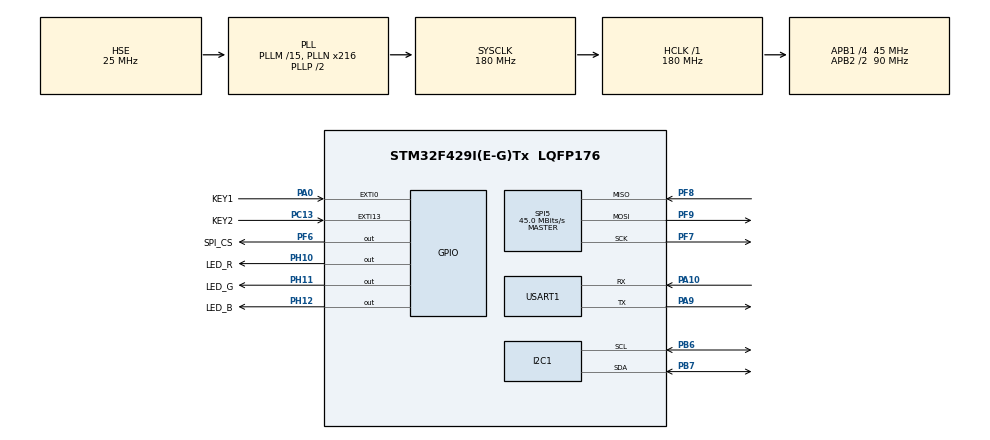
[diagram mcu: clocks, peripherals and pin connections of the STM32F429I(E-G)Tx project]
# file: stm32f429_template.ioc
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I2C1.I2C_Mode=I2C_Standard
I2C1.OwnAddress=5
Mcu.Family=STM32F4
Mcu.Name=STM32F429I(E-G)Tx
Mcu.Package=LQFP176
NVIC.EXTI0_IRQn=true\:9\:0\:true\:false\:true\:true\:true
NVIC.EXTI15_10_IRQn=true\:10\:0\:true\:false\:true\:true\:true
NVIC.PriorityGroup=NVIC_PRIORITYGROUP_4
PA0/WKUP.GPIO_Label=KEY1
PA0/WKUP.Signal=GPXTI0
PA10.Mode=Asynchronous
PA10.Signal=USART1_RX
PA13.Mode=Serial_Wire
PA13.Signal=SYS_JTMS-SWDIO
PA14.Mode=Serial_Wire
PA14.Signal=SYS_JTCK-SWCLK
PA9.Mode=Asynchronous
PA9.Signal=USART1_TX
PB6.Mode=I2C
PB6.Signal=I2C1_SCL
PB7.Mode=I2C
PB7.Signal=I2C1_SDA
PC13.GPIO_Label=KEY2
PC13.Signal=GPXTI13
PF6.GPIO_Label=SPI_CS
PF6.GPIO_Speed=GPIO_SPEED_FREQ_VERY_HIGH
PF6.PinState=GPIO_PIN_SET
PF6.Signal=GPIO_Output
PF7.Mode=Full_Duplex_Master
PF7.Signal=SPI5_SCK
PF8.Mode=Full_Duplex_Master
PF8.Signal=SPI5_MISO
PF9.Mode=Full_Duplex_Master
PF9.Signal=SPI5_MOSI
PH0/OSC_IN.Mode=HSE-External-Oscillator
PH0/OSC_IN.Signal=RCC_OSC_IN
PH1/OSC_OUT.Mode=HSE-External-Oscillator
PH1/OSC_OUT.Signal=RCC_OSC_OUT
PH10.GPIO_Label=LED_R
PH10.GPIO_Speed=GPIO_SPEED_FREQ_HIGH
PH10.PinState=GPIO_PIN_SET
PH10.Signal=GPIO_Output
PH11.GPIO_Label=LED_G
PH11.GPIO_Speed=GPIO_SPEED_FREQ_HIGH
PH11.PinState=GPIO_PIN_SET
PH11.Signal=GPIO_Output
PH12.GPIO_Label=LED_B
PH12.GPIO_Speed=GPIO_SPEED_FREQ_HIGH
PH12.PinState=GPIO_PIN_SET
PH12.Signal=GPIO_Output
ProjectManager.HeapSize=0x200
ProjectManager.StackSize=0x400
ProjectManager.TargetToolchain=MDK-ARM V5
RCC.48MHZClocksFreq_Value=90000000
RCC.AHBFreq_Value=180000000
RCC.APB1CLKDivider=RCC_HCLK_DIV4
RCC.APB1Freq_Value=45000000
RCC.APB1TimFreq_Value=90000000
RCC.APB2CLKDivider=RCC_HCLK_DIV2
RCC.APB2Freq_Value=90000000
RCC.APB2TimFreq_Value=180000000
RCC.CortexFreq_Value=180000000
RCC.EnbaleCSS=true
RCC.HCLKFreq_Value=180000000
RCC.HSE_VALUE=25000000
RCC.HSI_VALUE=16000000
RCC.LSE_VALUE=32768
RCC.PLLM=15
RCC.PLLN=216
RCC.PLLSourceVirtual=RCC_PLLSOURCE_HSE
RCC.SYSCLKFreq_VALUE=180000000
RCC.SYSCLKSource=RCC_SYSCLKSOURCE_PLLCLK
RCC.VCOOutputFreq_Value=360000000
SPI5.CLKPhase=SPI_PHASE_2EDGE
SPI5.CLKPolarity=SPI_POLARITY_HIGH
SPI5.CalculateBaudRate=45.0 MBits/s
SPI5.Direction=SPI_DIRECTION_2LINES
SPI5.Mode=SPI_MODE_MASTER
SPI5.VirtualType=VM_MASTER
USART1.VirtualMode=VM_ASYNC
board=custom

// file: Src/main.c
/* USER CODE BEGIN Header */
/**
  ******************************************************************************
  * @file           : main.c
  * @brief          : Main program body
  ******************************************************************************
  * @attention
  *
  * <h2><center>&copy; Copyright (c) 2020 STMicroelectronics.
  * All rights reserved.</center></h2>
  *
  * This software component is licensed by ST under BSD 3-Clause license,
  * the "License"; You may not use this file except in compliance with the
  * License. You may obtain a copy of the License at:
  *                        opensource.org/licenses/BSD-3-Clause
  *
  ******************************************************************************
  */
/* USER CODE END Header */

#include "main.h"
#include "i2c.h"
#include "spi.h"
#include "usart.h"
#include "gpio.h"

/* USER CODE BEGIN Includes */
#include "bsp_led.h"
#include "bsp_i2c_ee.h"
#include <string.h>
/* USER CODE END Includes */

void SystemClock_Config(void);

int main(void)
{
  /* USER CODE BEGIN 1 */
  char str[] = "abcdefghijklmnopqrstuvwxyz";
  uint32_t cnt = 0;
  /* USER CODE END 1 */

  /* MCU Configuration--------------------------------------------------------*/

  /* Reset of all peripherals, Initializes the Flash interface and the Systick. */
  HAL_Init();

  /* Configure the system clock */
  SystemClock_Config();

  /* Initialize all configured peripherals */
  MX_GPIO_Init();
  MX_USART1_UART_Init();
  MX_I2C1_Init();
  MX_SPI5_Init();
  /* USER CODE BEGIN 2 */
  DEBUG("test DEBUG");
  #if 0
  // memset(EE_WriteBuffer,0,EEPROM_MEMORY_SIZE);
  memset(EE_ReadBuffer,0,EEPROM_MEMORY_SIZE);
  for(cnt=0;cnt<256;cnt++)
  {
    EE_WriteBuffer[cnt] = cnt;
  }
  strcpy((char *)EE_WriteBuffer,str);
  if(I2C_EE_WriteBuffer(EE_WriteBuffer,45,strlen(str))==HAL_OK)
  // if(I2C_EE_WriteBuffer(EE_WriteBuffer,0,EEPROM_MEMORY_SIZE)==HAL_OK)
  {
    DEBUG("i2c write BYTE success.");
  }
  else
  {
    DEBUG("i2c write BYTE fail.");
  }

  if(I2C_EE_ReadData(EE_ReadBuffer,0,EEPROM_MEMORY_SIZE)==HAL_OK)
  {
    DEBUG("i2c read BYTE success.");
  }
  else
  {
    DEBUG("i2c read BYTE fail.");
  }
  for (int i = 0; i < EEPROM_MEMORY_SIZE; i++)
  {
    DEBUG("write:%d  read:%c",EE_WriteBuffer[i] ,EE_ReadBuffer[i]);
  }
  #endif
  /* USER CODE END 2 */

  /* Infinite loop */
  /* USER CODE BEGIN WHILE */
  while (1)
  {
    Led_Processing();
    /* USER CODE END WHILE */

  }
}

void SystemClock_Config(void)
{
  RCC_OscInitTypeDef RCC_OscInitStruct = {0};
  RCC_ClkInitTypeDef RCC_ClkInitStruct = {0};

  /** Configure the main internal regulator output voltage
  */
  __HAL_RCC_PWR_CLK_ENABLE();
  __HAL_PWR_VOLTAGESCALING_CONFIG(PWR_REGULATOR_VOLTAGE_SCALE1);
  /** Initializes the CPU, AHB and APB busses clocks
  */
  RCC_OscInitStruct.OscillatorType = RCC_OSCILLATORTYPE_HSE;
  RCC_OscInitStruct.HSEState = RCC_HSE_ON;
  RCC_OscInitStruct.PLL.PLLState = RCC_PLL_ON;
  RCC_OscInitStruct.PLL.PLLSource = RCC_PLLSOURCE_HSE;
  RCC_OscInitStruct.PLL.PLLM = 15;
  RCC_OscInitStruct.PLL.PLLN = 216;
  RCC_OscInitStruct.PLL.PLLP = RCC_PLLP_DIV2;
  RCC_OscInitStruct.PLL.PLLQ = 4;
  if (HAL_RCC_OscConfig(&RCC_OscInitStruct) != HAL_OK)
  {
    Error_Handler();
  }
  /** Activate the Over-Drive mode
  */
  if (HAL_PWREx_EnableOverDrive() != HAL_OK)
  {
    Error_Handler();
  }
  /** Initializes the CPU, AHB and APB busses clocks
  */
  RCC_ClkInitStruct.ClockType = RCC_CLOCKTYPE_HCLK|RCC_CLOCKTYPE_SYSCLK
                              |RCC_CLOCKTYPE_PCLK1|RCC_CLOCKTYPE_PCLK2;
  RCC_ClkInitStruct.SYSCLKSource = RCC_SYSCLKSOURCE_PLLCLK;
  RCC_ClkInitStruct.AHBCLKDivider = RCC_SYSCLK_DIV1;
  RCC_ClkInitStruct.APB1CLKDivider = RCC_HCLK_DIV4;
  RCC_ClkInitStruct.APB2CLKDivider = RCC_HCLK_DIV2;

  if (HAL_RCC_ClockConfig(&RCC_ClkInitStruct, FLASH_LATENCY_5) != HAL_OK)
  {
    Error_Handler();
  }
  /** Enables the Clock Security System
  */
  HAL_RCC_EnableCSS();
}

void Error_Handler(void)
{
}

/************************ (C) COPYRIGHT STMicroelectronics *****END OF FILE****/
